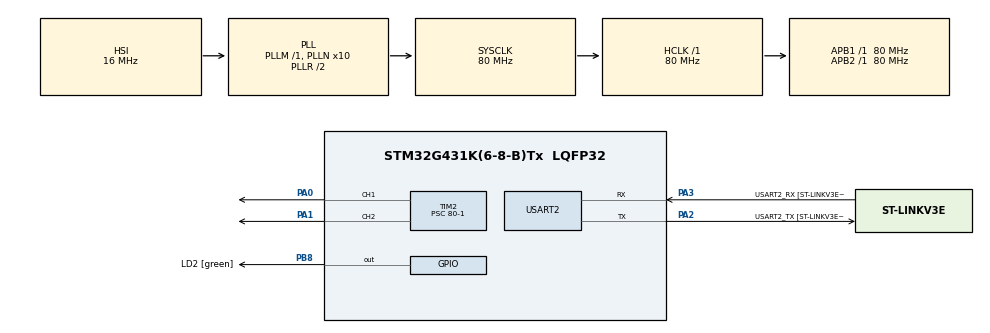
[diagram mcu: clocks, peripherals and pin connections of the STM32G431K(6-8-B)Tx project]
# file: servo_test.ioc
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Mcu.Family=STM32G4
Mcu.Name=STM32G431K(6-8-B)Tx
Mcu.Package=LQFP32
NVIC.PriorityGroup=NVIC_PRIORITYGROUP_4
NVIC.TIM1_TRG_COM_TIM17_IRQn=true\:15\:0\:false\:false\:true\:false\:true
NVIC.TimeBase=TIM1_TRG_COM_TIM17_IRQn
NVIC.TimeBaseIP=TIM17
NVIC.USART2_IRQn=true\:0\:0\:false\:false\:true\:true\:true
PA0.Signal=S_TIM2_CH1
PA1.Signal=S_TIM2_CH2
PA13.GPIO_Label=T_SWDIO
PA13.Mode=Serial_Wire
PA13.Signal=SYS_JTMS-SWDIO
PA14.GPIO_Label=T_SWCLK
PA14.Mode=Serial_Wire
PA14.Signal=SYS_JTCK-SWCLK
PA2.GPIO_Label=USART2_TX [ST-LINKV3E_VCP_RX]
PA2.Mode=Asynchronous
PA2.Signal=USART2_TX
PA3.GPIO_Label=USART2_RX [ST-LINKV3E_VCP_TX]
PA3.Mode=Asynchronous
PA3.Signal=USART2_RX
PB3.GPIO_Label=T_SWO
PB3.Signal=SYS_JTDO-SWO
PB8-BOOT0.GPIO_Label=LD2 [green]
PB8-BOOT0.Signal=GPIO_Output
ProjectManager.HeapSize=0x200
ProjectManager.StackSize=0x400
ProjectManager.TargetToolchain=STM32CubeIDE
RCC.ADC12Freq_Value=80000000
RCC.AHBFreq_Value=80000000
RCC.APB1Freq_Value=80000000
RCC.APB1TimFreq_Value=80000000
RCC.APB2Freq_Value=80000000
RCC.APB2TimFreq_Value=80000000
RCC.CortexFreq_Value=80000000
RCC.EXTERNAL_CLOCK_VALUE=12288000
RCC.HCLKFreq_Value=80000000
RCC.HSE_VALUE=8000000
RCC.HSI48_VALUE=48000000
RCC.HSI_VALUE=16000000
RCC.LSE_VALUE=32768
RCC.PLLN=10
RCC.SYSCLKFreq_VALUE=80000000
RCC.SYSCLKSource=RCC_SYSCLKSOURCE_PLLCLK
RCC.USBFreq_Value=80000000
RCC.VCOOutputFreq_Value=160000000
SH.S_TIM2_CH1.0=TIM2_CH1,PWM Generation1 CH1
SH.S_TIM2_CH2.0=TIM2_CH2,PWM Generation2 CH2
TIM2.Channel-PWM\ Generation1\ CH1=TIM_CHANNEL_1
TIM2.Channel-PWM\ Generation2\ CH2=TIM_CHANNEL_2
TIM2.PeriodNoDither=20000
TIM2.Prescaler=80-1
USART2.VirtualMode-Asynchronous=VM_ASYNC
USART2.WordLength=WORDLENGTH_8B
VP_SYS_VS_DBSignals.Mode=DisableDeadBatterySignals
VP_SYS_VS_tim17.Mode=TIM17
VP_TIM2_VS_ClockSourceINT.Mode=Internal
board=NUCLEO-G431KB

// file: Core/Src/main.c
/* USER CODE BEGIN Header */
/**
  ******************************************************************************
  * @file           : main.c
  * @brief          : Main program body
  ******************************************************************************
  * @attention
  *
  * <h2><center>&copy; Copyright (c) 2023 STMicroelectronics.
  * All rights reserved.</center></h2>
  *
  * This software component is licensed by ST under BSD 3-Clause license,
  * the "License"; You may not use this file except in compliance with the
  * License. You may obtain a copy of the License at:
  *                        opensource.org/licenses/BSD-3-Clause
  *
  ******************************************************************************
  */
/* USER CODE END Header */
#include "main.h"

/* USER CODE BEGIN Includes */
#include "stdio.h"
#include "string.h"
#include "stdlib.h"
#include "math.h"
/* USER CODE END Includes */

/* USER CODE BEGIN PD */
#define PWM_MIN 540
#define PWM_MAX 2400

#define A_OFFSET 0
#define B_OFFSET 50

#define BUFFER_NUM 4

/* USER CODE END PD */

TIM_HandleTypeDef htim2;

UART_HandleTypeDef huart2;

/* USER CODE BEGIN PV */
uint8_t buffer[BUFFER_NUM];
float target = 0;
float target_a = 0;
float target_b = 0;
float time = 0;
/* USER CODE END PV */

void SystemClock_Config(void);
static void MX_GPIO_Init(void);
static void MX_TIM2_Init(void);
static void MX_USART2_UART_Init(void);
/* USER CODE BEGIN PFP */
int calc_ms_a(float target);
int calc_ms_b(float target);
/* USER CODE END PFP */

int main(void)
{
  /* USER CODE BEGIN 1 */
  setbuf(stdout, NULL);
  /* USER CODE END 1 */

  /* MCU Configuration--------------------------------------------------------*/

  /* Reset of all peripherals, Initializes the Flash interface and the Systick. */
  HAL_Init();

  /* Configure the system clock */
  SystemClock_Config();

  /* Initialize all configured peripherals */
  MX_GPIO_Init();
  MX_TIM2_Init();
  MX_USART2_UART_Init();
  /* USER CODE BEGIN 2 */
  HAL_TIM_PWM_Start(&htim2, TIM_CHANNEL_1);
  HAL_TIM_PWM_Start(&htim2, TIM_CHANNEL_2);
  HAL_UART_Receive_IT(&huart2, buffer, BUFFER_NUM);
  __HAL_TIM_SET_COMPARE(&htim2, TIM_CHANNEL_1, calc_ms_a(0.0f));
  __HAL_TIM_SET_COMPARE(&htim2, TIM_CHANNEL_2, calc_ms_b(0.0f));
  /* USER CODE END 2 */

  /* Infinite loop */
  /* USER CODE BEGIN WHILE */
  while (1)
  {
    int ms_a = calc_ms_a((float)target);
    int ms_b = calc_ms_b((float)target);
    printf("%.1f, %d, %d\r\n", target, ms_a, ms_b);
    if ((PWM_MIN <= ms_a) && (ms_a <= PWM_MAX)) {
      __HAL_TIM_SET_COMPARE(&htim2, TIM_CHANNEL_1, ms_a);
    }
    if ((PWM_MIN <= ms_b) && (ms_b <= PWM_MAX)) {
      __HAL_TIM_SET_COMPARE(&htim2, TIM_CHANNEL_2, ms_b);
    }
    HAL_Delay(10);
    /* USER CODE END WHILE */

  }
}

void SystemClock_Config(void)
{
  RCC_OscInitTypeDef RCC_OscInitStruct = {0};
  RCC_ClkInitTypeDef RCC_ClkInitStruct = {0};
  RCC_PeriphCLKInitTypeDef PeriphClkInit = {0};

  /** Configure the main internal regulator output voltage
  */
  HAL_PWREx_ControlVoltageScaling(PWR_REGULATOR_VOLTAGE_SCALE1);
  /** Initializes the RCC Oscillators according to the specified parameters
  * in the RCC_OscInitTypeDef structure.
  */
  RCC_OscInitStruct.OscillatorType = RCC_OSCILLATORTYPE_HSI;
  RCC_OscInitStruct.HSIState = RCC_HSI_ON;
  RCC_OscInitStruct.HSICalibrationValue = RCC_HSICALIBRATION_DEFAULT;
  RCC_OscInitStruct.PLL.PLLState = RCC_PLL_ON;
  RCC_OscInitStruct.PLL.PLLSource = RCC_PLLSOURCE_HSI;
  RCC_OscInitStruct.PLL.PLLM = RCC_PLLM_DIV1;
  RCC_OscInitStruct.PLL.PLLN = 10;
  RCC_OscInitStruct.PLL.PLLP = RCC_PLLP_DIV2;
  RCC_OscInitStruct.PLL.PLLQ = RCC_PLLQ_DIV2;
  RCC_OscInitStruct.PLL.PLLR = RCC_PLLR_DIV2;
  if (HAL_RCC_OscConfig(&RCC_OscInitStruct) != HAL_OK)
  {
    Error_Handler();
  }
  /** Initializes the CPU, AHB and APB buses clocks
  */
  RCC_ClkInitStruct.ClockType = RCC_CLOCKTYPE_HCLK|RCC_CLOCKTYPE_SYSCLK
                              |RCC_CLOCKTYPE_PCLK1|RCC_CLOCKTYPE_PCLK2;
  RCC_ClkInitStruct.SYSCLKSource = RCC_SYSCLKSOURCE_PLLCLK;
  RCC_ClkInitStruct.AHBCLKDivider = RCC_SYSCLK_DIV1;
  RCC_ClkInitStruct.APB1CLKDivider = RCC_HCLK_DIV1;
  RCC_ClkInitStruct.APB2CLKDivider = RCC_HCLK_DIV1;

  if (HAL_RCC_ClockConfig(&RCC_ClkInitStruct, FLASH_LATENCY_2) != HAL_OK)
  {
    Error_Handler();
  }
  /** Initializes the peripherals clocks
  */
  PeriphClkInit.PeriphClockSelection = RCC_PERIPHCLK_USART2;
  PeriphClkInit.Usart2ClockSelection = RCC_USART2CLKSOURCE_PCLK1;
  if (HAL_RCCEx_PeriphCLKConfig(&PeriphClkInit) != HAL_OK)
  {
    Error_Handler();
  }
}

static void MX_TIM2_Init(void)
{

  TIM_ClockConfigTypeDef sClockSourceConfig = {0};
  TIM_MasterConfigTypeDef sMasterConfig = {0};
  TIM_OC_InitTypeDef sConfigOC = {0};

  htim2.Instance = TIM2;
  htim2.Init.Prescaler = 80-1;
  htim2.Init.CounterMode = TIM_COUNTERMODE_UP;
  htim2.Init.Period = 20000;
  htim2.Init.ClockDivision = TIM_CLOCKDIVISION_DIV1;
  htim2.Init.AutoReloadPreload = TIM_AUTORELOAD_PRELOAD_DISABLE;
  if (HAL_TIM_Base_Init(&htim2) != HAL_OK)
  {
    Error_Handler();
  }
  sClockSourceConfig.ClockSource = TIM_CLOCKSOURCE_INTERNAL;
  if (HAL_TIM_ConfigClockSource(&htim2, &sClockSourceConfig) != HAL_OK)
  {
    Error_Handler();
  }
  if (HAL_TIM_PWM_Init(&htim2) != HAL_OK)
  {
    Error_Handler();
  }
  sMasterConfig.MasterOutputTrigger = TIM_TRGO_RESET;
  sMasterConfig.MasterSlaveMode = TIM_MASTERSLAVEMODE_DISABLE;
  if (HAL_TIMEx_MasterConfigSynchronization(&htim2, &sMasterConfig) != HAL_OK)
  {
    Error_Handler();
  }
  sConfigOC.OCMode = TIM_OCMODE_PWM1;
  sConfigOC.Pulse = 0;
  sConfigOC.OCPolarity = TIM_OCPOLARITY_HIGH;
  sConfigOC.OCFastMode = TIM_OCFAST_DISABLE;
  if (HAL_TIM_PWM_ConfigChannel(&htim2, &sConfigOC, TIM_CHANNEL_1) != HAL_OK)
  {
    Error_Handler();
  }
  if (HAL_TIM_PWM_ConfigChannel(&htim2, &sConfigOC, TIM_CHANNEL_2) != HAL_OK)
  {
    Error_Handler();
  }
  HAL_TIM_MspPostInit(&htim2);

}

static void MX_USART2_UART_Init(void)
{

  huart2.Instance = USART2;
  huart2.Init.BaudRate = 115200;
  huart2.Init.WordLength = UART_WORDLENGTH_8B;
  huart2.Init.StopBits = UART_STOPBITS_1;
  huart2.Init.Parity = UART_PARITY_NONE;
  huart2.Init.Mode = UART_MODE_TX_RX;
  huart2.Init.HwFlowCtl = UART_HWCONTROL_NONE;
  huart2.Init.OverSampling = UART_OVERSAMPLING_16;
  huart2.Init.OneBitSampling = UART_ONE_BIT_SAMPLE_DISABLE;
  huart2.Init.ClockPrescaler = UART_PRESCALER_DIV1;
  huart2.AdvancedInit.AdvFeatureInit = UART_ADVFEATURE_NO_INIT;
  if (HAL_UART_Init(&huart2) != HAL_OK)
  {
    Error_Handler();
  }
  if (HAL_UARTEx_SetTxFifoThreshold(&huart2, UART_TXFIFO_THRESHOLD_1_8) != HAL_OK)
  {
    Error_Handler();
  }
  if (HAL_UARTEx_SetRxFifoThreshold(&huart2, UART_RXFIFO_THRESHOLD_1_8) != HAL_OK)
  {
    Error_Handler();
  }
  if (HAL_UARTEx_DisableFifoMode(&huart2) != HAL_OK)
  {
    Error_Handler();
  }

}

static void MX_GPIO_Init(void)
{
  GPIO_InitTypeDef GPIO_InitStruct = {0};

  /* GPIO Ports Clock Enable */
  __HAL_RCC_GPIOA_CLK_ENABLE();
  __HAL_RCC_GPIOB_CLK_ENABLE();

  /*Configure GPIO pin Output Level */
  HAL_GPIO_WritePin(LD2_GPIO_Port, LD2_Pin, GPIO_PIN_RESET);

  /*Configure GPIO pin : LD2_Pin */
  GPIO_InitStruct.Pin = LD2_Pin;
  GPIO_InitStruct.Mode = GPIO_MODE_OUTPUT_PP;
  GPIO_InitStruct.Pull = GPIO_NOPULL;
  GPIO_InitStruct.Speed = GPIO_SPEED_FREQ_LOW;
  HAL_GPIO_Init(LD2_GPIO_Port, &GPIO_InitStruct);

}

/* USER CODE BEGIN 4 */
int _write(int file, char *ptr, int len) {
  HAL_UART_Transmit(&huart2, (uint8_t *)ptr, len, 10);
  return len;
}

int calc_ms_a(float target) {
  return (int)(((180-(target + A_OFFSET)) / 180.0 * (float)(PWM_MAX-PWM_MIN)) + PWM_MIN);
}

int calc_ms_b(float target) {
  return (int)(((target + B_OFFSET) / 180.0 * (float)(PWM_MAX-PWM_MIN)) + PWM_MIN);
}
void HAL_UART_RxCpltCallback(UART_HandleTypeDef *huart) {
  if (huart->Instance == USART2) {
    target = atoi(buffer);

    HAL_UART_Receive_IT(&huart2, buffer, BUFFER_NUM);
  }
}
/* USER CODE END 4 */

void HAL_TIM_PeriodElapsedCallback(TIM_HandleTypeDef *htim)
{
  if (htim->Instance == TIM17) {
    HAL_IncTick();
  }
}

void Error_Handler(void)
{
  __disable_irq();
  while (1)
  {
  }
}

/************************ (C) COPYRIGHT STMicroelectronics *****END OF FILE****/
